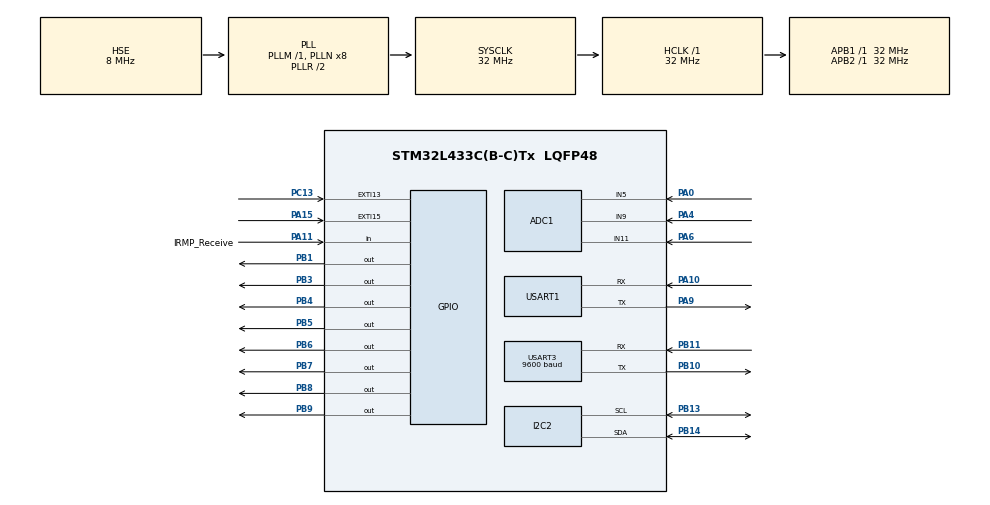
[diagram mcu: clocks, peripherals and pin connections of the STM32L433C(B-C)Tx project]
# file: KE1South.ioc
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ADC1.Channel-0\#ChannelRegularConversion=ADC_CHANNEL_9
ADC1.Channel-1\#ChannelRegularConversion=ADC_CHANNEL_11
ADC1.Channel-2\#ChannelRegularConversion=ADC_CHANNEL_5
ADC1.ContinuousConvMode=ENABLE
ADC1.DMAContinuousRequests=ENABLE
ADC1.NbrOfConversion=3
ADC1.NbrOfConversionFlag=1
ADC1.OffsetNumber-0\#ChannelRegularConversion=ADC_OFFSET_NONE
ADC1.OffsetNumber-1\#ChannelRegularConversion=ADC_OFFSET_NONE
ADC1.OffsetNumber-2\#ChannelRegularConversion=ADC_OFFSET_NONE
ADC1.Rank-0\#ChannelRegularConversion=1
ADC1.Rank-1\#ChannelRegularConversion=2
ADC1.Rank-2\#ChannelRegularConversion=3
ADC1.SamplingTime-0\#ChannelRegularConversion=ADC_SAMPLETIME_2CYCLES_5
ADC1.SamplingTime-1\#ChannelRegularConversion=ADC_SAMPLETIME_2CYCLES_5
ADC1.SamplingTime-2\#ChannelRegularConversion=ADC_SAMPLETIME_2CYCLES_5
ADC1.master=1
Dma.ADC1.0.Direction=DMA_PERIPH_TO_MEMORY
Dma.ADC1.0.Instance=DMA1_Channel1
Dma.ADC1.0.MemDataAlignment=DMA_MDATAALIGN_HALFWORD
Dma.ADC1.0.MemInc=DMA_MINC_ENABLE
Dma.ADC1.0.Mode=DMA_NORMAL
Dma.ADC1.0.PeriphDataAlignment=DMA_PDATAALIGN_HALFWORD
Dma.ADC1.0.PeriphInc=DMA_PINC_DISABLE
Dma.ADC1.0.Priority=DMA_PRIORITY_LOW
Dma.Request0=ADC1
I2C2.Timing=0x00707CBB
Mcu.Family=STM32L4
Mcu.Name=STM32L433C(B-C)Tx
Mcu.Package=LQFP48
NVIC.DMA1_Channel1_IRQn=true\:0\:0\:false\:false\:true\:false\:true
NVIC.EXTI15_10_IRQn=true\:4\:0\:true\:false\:true\:true\:true
NVIC.PriorityGroup=NVIC_PRIORITYGROUP_4
NVIC.TIM2_IRQn=true\:0\:0\:false\:false\:true\:true\:true
NVIC.USART1_IRQn=true\:3\:0\:true\:false\:true\:true\:true
NVIC.USART3_IRQn=true\:1\:0\:true\:false\:true\:true\:true
PA0.Signal=ADCx_IN5
PA1.Signal=S_TIM2_CH2
PA10.Mode=Asynchronous
PA10.Signal=USART1_RX
PA11.GPIO_Label=IRMP_Receive
PA11.Signal=GPIO_Input
PA13\ (JTMS-SWDIO).Mode=Serial_Wire
PA13\ (JTMS-SWDIO).Signal=SYS_JTMS-SWDIO
PA14\ (JTCK-SWCLK).Mode=Serial_Wire
PA14\ (JTCK-SWCLK).Signal=SYS_JTCK-SWCLK
PA15\ (JTDI).GPIO_PuPd=GPIO_PULLUP
PA15\ (JTDI).Signal=GPXTI15
PA4.Signal=ADCx_IN9
PA6.Signal=ADCx_IN11
PA9.Mode=Asynchronous
PA9.Signal=USART1_TX
PB1.Signal=GPIO_Output
PB10.Mode=Asynchronous
PB10.Signal=USART3_TX
PB11.Mode=Asynchronous
PB11.Signal=USART3_RX
PB13.Mode=I2C
PB13.Signal=I2C2_SCL
PB14.Mode=I2C
PB14.Signal=I2C2_SDA
PB3\ (JTDO-TRACESWO).Signal=GPIO_Output
PB4\ (NJTRST).PinState=GPIO_PIN_RESET
PB4\ (NJTRST).Signal=GPIO_Output
PB5.PinState=GPIO_PIN_SET
PB5.Signal=GPIO_Output
PB6.PinState=GPIO_PIN_SET
PB6.Signal=GPIO_Output
PB7.PinState=GPIO_PIN_SET
PB7.Signal=GPIO_Output
PB8.Signal=GPIO_Output
PB9.Signal=GPIO_Output
PC13.GPIO_PuPd=GPIO_PULLUP
PC13.Signal=GPXTI13
PC14-OSC32_IN\ (PC14).Mode=LSE-External-Oscillator
PC14-OSC32_IN\ (PC14).Signal=RCC_OSC32_IN
PC15-OSC32_OUT\ (PC15).Mode=LSE-External-Oscillator
PC15-OSC32_OUT\ (PC15).Signal=RCC_OSC32_OUT
PH0-OSC_IN\ (PH0).Mode=HSE-External-Oscillator
PH0-OSC_IN\ (PH0).Signal=RCC_OSC_IN
PH1-OSC_OUT\ (PH1).Mode=HSE-External-Oscillator
PH1-OSC_OUT\ (PH1).Signal=RCC_OSC_OUT
ProjectManager.HeapSize=0x200
ProjectManager.StackSize=0x400
ProjectManager.TargetToolchain=STM32CubeIDE
RCC.ADCFreq_Value=64000000
RCC.AHBFreq_Value=32000000
RCC.APB1Freq_Value=32000000
RCC.APB1TimFreq_Value=32000000
RCC.APB2Freq_Value=32000000
RCC.APB2TimFreq_Value=32000000
RCC.CortexFreq_Value=32000000
RCC.HCLKFreq_Value=32000000
RCC.HSE_VALUE=8000000
RCC.HSI48_VALUE=48000000
RCC.HSI_VALUE=16000000
RCC.MSI_VALUE=4000000
RCC.PLLSAI1N=16
RCC.PLLSourceVirtual=RCC_PLLSOURCE_HSE
RCC.SYSCLKFreq_VALUE=32000000
RCC.SYSCLKSource=RCC_SYSCLKSOURCE_PLLCLK
RCC.USBFreq_Value=64000000
RCC.VCOOutputFreq_Value=64000000
SH.ADCx_IN11.0=ADC1_IN11,IN11-Single-Ended
SH.ADCx_IN5.0=ADC1_IN5,IN5-Single-Ended
SH.ADCx_IN9.0=ADC1_IN9,IN9-Single-Ended
SH.S_TIM2_CH2.0=TIM2_CH2
TIM2.Period=99
TIM2.Prescaler=32-1
USART1.VirtualMode-Asynchronous=VM_ASYNC
USART3.BaudRate=9600
USART3.VirtualMode-Asynchronous=VM_ASYNC
VP_TIM2_VS_ClockSourceINT.Mode=Internal
board=custom

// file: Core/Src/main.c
/* USER CODE BEGIN Header */
/**
 ******************************************************************************
 * @file           : main.c
 * @brief          : Main program body
 ******************************************************************************
 * @attention
 *
 * <h2><center>&copy; Copyright (c) 2019 STMicroelectronics.
 * All rights reserved.</center></h2>
 *
 * This software component is licensed by ST under BSD 3-Clause license,
 * the "License"; You may not use this file except in compliance with the
 * License. You may obtain a copy of the License at:
 *                        opensource.org/licenses/BSD-3-Clause
 *
 ******************************************************************************
 */
/* USER CODE END Header */

#include "main.h"
#include "adc.h"
#include "dma.h"
#include "i2c.h"
#include "tim.h"
#include "usart.h"
#include "gpio.h"

/* USER CODE BEGIN Includes */
#include <stdio.h>
#include <string.h>
#include <stdlib.h>
#include "oled.h"
#include "nbiot.h"
/* USER CODE END Includes */

void SystemClock_Config(void);

/* USER CODE BEGIN 0 */
int KE1_Parse_NNMI(char *pcNNMI, char *pcOut)
{
	char ch = 0, lenFlag = 0, dataFlag = 0;
	char acLen[5] = {0};
	int i = 0, pos = 0, dLen = 0;
	//+NNMI:6,010009020000
	for(i=0; i<strlen(pcNNMI); i++){
		ch = pcNNMI[i];
		if(0x0D == ch && 1 == dataFlag) break;

		if(':' == ch){
			lenFlag = 1; pos = 0;
			continue;
		}
		if(',' == ch){
			lenFlag = 0;
			dataFlag = 1; pos = 0;
			dLen = atoi(acLen);
			continue;
		}
		if(1 == lenFlag){
			acLen[pos++] = ch;
		}
		if(1 == dataFlag){
			pcOut[pos++] = ch;
		}
	}
	return dLen;
}

void ascii2hex(char *pcAscii, char *pcHex)
{
	int iDlen = 0, i = 0, pos = 0;
	iDlen = strlen(pcAscii);
	if(128 < iDlen) return;
	for(i=0; i<iDlen; i++){
		sprintf(&pcHex[pos], "%02X", pcAscii[i]);
		pos += 2;
	}
}
extern unsigned char key1, key2;
char acDevInfo[128] = {0}, acHexBuf[256] = {0}, acAtBuf[512] = {0}, acUserCmd[64] = {0};
/* USER CODE END 0 */

int main(void)
{
  /* USER CODE BEGIN 1 */
	const char *pcVersion = "V0.0.7";
	float fTemp = 34.2, fHumi = 0.0;
	unsigned short usLight = 0, usSound = 0, usVoltage = 0;

	int iUserCase = 0, iRet = -1, tryCnt = 0, iSigVal = 0;

	char netFlag = 0, cmdLen = 0, acSigVal[3] = {0};

	unsigned int atLen = 0, dLen = 0, timeout = 1000, upDevFreq = 0, upNetFreq = 0;
	int nbSP = 0, nbCCID = 0, nbSNR = 0;
	unsigned char nbECL = 0;

  /* USER CODE END 1 */

  /* MCU Configuration--------------------------------------------------------*/

  /* Reset of all peripherals, Initializes the Flash interface and the Systick. */
  HAL_Init();

  /* Configure the system clock */
  SystemClock_Config();

  /* Initialize all configured peripherals */
  MX_GPIO_Init();
  MX_DMA_Init();
  MX_ADC1_Init();
  MX_USART1_UART_Init();
  MX_USART3_UART_Init();
  MX_I2C2_Init();
  MX_TIM2_Init();
  /* USER CODE BEGIN 2 */
	Beep_Switch(1);
	HAL_Delay(500);
	Beep_Switch(0);

	UART_Enable_Receive_IT();// 使能串口接收中断，开始接收数�??

	OLED_Init(); // 初始化OLDE

	OLED_DrawLogo(); // 显示bmp单色logo图片
	HAL_Delay(2000);

	OLED_ShowKE1(); // 显示 小熊座KE1
	OLED_ShowString(0, 3, (uint8_t *)pcVersion, 6);
	HAL_Delay(2000);
	printf("Hello! i am KE1 south demo %s\r\n",pcVersion);

	KE1_I2C_SHT31(&fTemp, &fHumi);
	printf("T:%0.2f,H:%0.2f\r\n", fTemp, fHumi);

	KE1_Send_AT("AT\r\n"); atLen = sizeof(acAtBuf);
	iRet = KE1_Recv_AT(acAtBuf, &atLen, 1000);

	if(0 == fHumi || 0 == iRet){
		printf("I2C or AT NVIC_SystemReset\n");
		NVIC_SystemReset();//无法读取I2C或�?�AT没有响应则MCU 重启
	}

	OLED_Clear();

	tryCnt = 120;

	HAL_GPIO_WritePin(GPIOB, GPIO_PIN_5, 1);
	HAL_GPIO_WritePin(GPIOB, GPIO_PIN_6, 1);
	HAL_GPIO_WritePin(GPIOB, GPIO_PIN_7, 0);	//初始状态为绿灯表示座位可接受预约
  /* USER CODE END 2 */

  /* Infinite loop */
  /* USER CODE BEGIN WHILE */
	int RayBlock=0;
	int TempAppr=0;
	int count=0;
	int appoint=0;

	while (1)
	{
    /* USER CODE END WHILE */
		if(appoint==1) count++;

    /* USER CODE BEGIN 3 */
		if(0 == netFlag){
			OLED_Show_Note(NULL, 1, tryCnt);
			if(0 != tryCnt) {
				tryCnt--;
			}else{
				OLED_Show_Note("reg err", 0, 0);
				if(NB_OK == nbiot_reboot(10)){
					iUserCase = NB_STEP_BUFF_CLEAR;tryCnt = 120;
				}else{
					NVIC_SystemReset();
				}
			}
		}else{
			if(0 < iSigVal && 32 > iSigVal){
				OLED_Show_Note(NULL, 2, iSigVal);
			}else if(99 == iSigVal){
				OLED_Show_Note("no net", 0, 0);
			}
		}

		KE1_I2C_SHT31(&fTemp, &fHumi); // 采集温湿�?
		KE1_ADC_Senser_Get(&usLight, &usSound, &usVoltage);//采集光强和噪�?
		if(0 < fHumi){
			OLED_ShowT_H(fTemp, fHumi);
			if(appoint==1){		//有人预约
				//RayBlock=oled_show_data();
				if(fTemp>24) TempAppr=1;
				else TempAppr=0;
				if(TempAppr) {		//有人入座
					HAL_GPIO_WritePin(GPIOB, GPIO_PIN_5, 1);
					HAL_GPIO_WritePin(GPIOB, GPIO_PIN_6, 1);
					HAL_GPIO_WritePin(GPIOB, GPIO_PIN_7, 1);
					count=0;
				}else if(count<=15){	//离开15分钟以内
					HAL_GPIO_WritePin(GPIOB, GPIO_PIN_5, 1);
					HAL_GPIO_WritePin(GPIOB, GPIO_PIN_6, 0);
					HAL_GPIO_WritePin(GPIOB, GPIO_PIN_7, 1);
				}else if(count<=30){	//离开30分钟以内
					HAL_GPIO_WritePin(GPIOB, GPIO_PIN_5, 1);
					HAL_GPIO_WritePin(GPIOB, GPIO_PIN_6, 0);
					HAL_GPIO_WritePin(GPIOB, GPIO_PIN_7, 0);
				}else{					//释放座位
					HAL_GPIO_WritePin(GPIOB, GPIO_PIN_5, 1);
					HAL_GPIO_WritePin(GPIOB, GPIO_PIN_6, 1);
					HAL_GPIO_WritePin(GPIOB, GPIO_PIN_7, 0);
					appoint=0;
				}
			}
		}
		if(1 == key1){
			key1 = 0;
			printf("key1 touch!\r\n");
		}
		if(1 == key2){
			key2 = 0;
			printf("key2 touch!\r\n");
		}
		timeout = 500;
		printf("case %d - %d - %d - %d\r\n", iUserCase,timeout, upDevFreq, upNetFreq);
		switch(iUserCase){
			case NB_STEP_BUFF_CLEAR:
				KE1_Clear_AT_Buf();
				iUserCase = NB_STEP_CHECK_AT;
				continue;
			case NB_STEP_CHECK_AT:
				KE1_Send_AT("ATE1\r\n");// �?启模块AT命令回显功能
				break;
			case NB_STEP_CHECK_REG:
				if(NB_OK == nbiot_check_reg(3)){// �?查模块网络注册情�?
					iUserCase = NB_STEP_UP_REG_INFO;
					netFlag = 1;
				}else{
					iUserCase = NB_STEP_STOP_MODULE;
				}
				break;
			case NB_STEP_STOP_MODULE:
				KE1_Send_AT("AT+CFUN=0\r\n"); // 关闭模组
				timeout = 10000;
				break;
			case NB_STEP_SET_COAP:
				KE1_Send_AT("AT+NCDP=180.101.147.115,5683\r\n"); // 设置电信物联网南向接口地�?
				break;
			case NB_STEP_START_MODULE:
				KE1_Send_AT("AT+CFUN=1\r\n"); // 启动模块
				timeout = 10000;
				break;
			case NB_STEP_SET_PDP:
				KE1_Send_AT("AT+CGDCONT=1,\"IP\",\"CTNB\"\r\n"); // 设置PDP
				break;
			case NB_STEP_SIM_CHECK: //�?查SIM是否存在
				KE1_Send_AT("AT+CIMI\r\n");
				break;
			case NB_STEP_START_REG:
				KE1_Send_AT("AT+CGATT=1\r\n"); // 启动网络附着
				break;
			case NB_STEP_SET_AUTO_REG:
				KE1_Send_AT("AT+QREGSWT=1\r\n"); // 网络自动注册
				break;
			case NB_STEP_WAITING_REG_OK:
				HAL_Delay(1000);
				KE1_Send_AT("AT+CGATT?\r\n"); // 检查网络注册状况
				break;
			case NB_STEP_UP_REG_INFO:
				if(1 == netFlag && 0 == upNetFreq){
					nbiot_get_signl_val(acSigVal);iSigVal = atoi(acSigVal); printf("Signal:%d\r\n", iSigVal);

					tryCnt = 0;
					OLED_Show_UP_Flag(1);
					/*
					 * 	上报的无线参数�?�必须在数据范围内才算有效数据，数据范围要求�??
						1. 信号强度，上报范围应�??-140�??-40之间
						2. 覆盖等级，上报范围应�??0�??2之间
						3. 信噪比，上报范围应在-20�??30之间
						4. 小区ID，上报范围应�??0�??2147483647之间
					 * AT样例: AT+NMGS=11,03FFFFFFA608F651550E01
						平台JSON�??: {"SignalPower":-90,"CellID":150360405,"SNR":14,"ECL":1}
					 * */
					memset(acAtBuf, 0, sizeof(acAtBuf));
					nbiot_get_nuestats(&nbSP, &nbSNR, &nbCCID, &nbECL);

					printf("Signal:%d, %d, %d, %d\r\n", nbSP, nbCCID, nbSNR, nbECL);

					snprintf(acAtBuf, sizeof(acAtBuf), "AT+NMGS=14,03%08X%08X%08X%02X\r\n", nbSP, nbCCID, nbSNR, nbECL);// 打包模组信号强度参数
					KE1_Send_AT(acAtBuf);// 发�?�信�??
					upNetFreq = (60*60)*2;
				}

				break;
			case NB_STEP_UP_DEV_INFO:
				tryCnt++;
				if(10 == tryCnt || (1 == netFlag && 0 == upDevFreq)){
					tryCnt = 0;
					nbiot_get_signl_val(acSigVal);iSigVal = atoi(acSigVal); printf("Signal:%d\r\n", iSigVal);
				}

				if(1 == netFlag && 0 == upDevFreq){
					memset(acDevInfo, 0, sizeof(acDevInfo));
					memset(acAtBuf, 0, sizeof(acAtBuf));

					dLen = snprintf(acDevInfo, sizeof(acDevInfo), "{\"T\":\"%0.2f\",\"H\":\"%0.2f\",\"L\":\"%d\",\"S\":\"%d\",\"V\":\"%d\",\"NB\":\"%d\"}", fTemp, fHumi, usLight,usSound,usVoltage,iSigVal);// 打包设备传感器数�??
					//printf("%s\r\n", acDevInfo);

					if(0 < fHumi){
						OLED_Show_UP_Flag(1);
						ascii2hex(acDevInfo, acHexBuf);
						snprintf(acAtBuf, sizeof(acAtBuf), "AT+NMGS=%d,00%04X%s\r\n", (dLen+3), dLen, acHexBuf);// 打包COAP数据包AT命令
						//printf("%s\r\n", acAtBuf);
						KE1_Send_AT(acAtBuf);
					}
					upDevFreq = (60*60);
				}
				break;
		}

		atLen = sizeof(acAtBuf);
		iRet = KE1_Recv_AT(acAtBuf, &atLen, timeout);
		//printf("RAT:%d-%d\r\n",iRet, timeout);

		if(0 == iRet){//AT命令响应超时
			HAL_GPIO_TogglePin(GPIOB, GPIO_PIN_4);
		}else if(1 == iRet){//AT命令接收到OK响应
			if(NB_STEP_WAITING_REG_OK > iUserCase){
				iUserCase++;
				//HAL_Delay(1000);
			}
		}else if(2 == iRet){//AT命令接收到ERROR响应
			printf("AT error !\r\n");
			if(NB_STEP_START_MODULE == iUserCase || NB_STEP_SIM_CHECK == iUserCase){
				OLED_Show_Note("NO SIM", 0, 0);
			}
			if(NB_STEP_UP_REG_INFO == iUserCase){
				OLED_Show_Note("NO Reg", 0, 0);
			}
			do{ // 报警
				HAL_Delay(200);
				HAL_GPIO_TogglePin(GPIOB, GPIO_PIN_6);
			}while(1);

		}else if(3 == iRet){//接收到网络已注册提示
			printf("Net ready !\r\n");
			netFlag = 1;
			OLED_Show_Note("Net OK", 0, 0);
			HAL_Delay(3000);
			iUserCase = NB_STEP_UP_REG_INFO;
		}else if(4 == iRet){//AT命令接收到电信物联网平台下发数据
			printf("%s", acAtBuf);
			memset(acUserCmd, 0, sizeof(acUserCmd));
			cmdLen = KE1_Parse_NNMI(acAtBuf, acUserCmd);

			if(strstr(acUserCmd, "AAAA0000")){
				printf("device info upload successfully\r\n");
				OLED_Show_UP_Flag(0);
			}else if(strstr(acUserCmd, "CCCC0000")){
				printf("Module connectivity upload successfully\r\n");
				iUserCase = NB_STEP_UP_DEV_INFO;
				OLED_Show_UP_Flag(0);
			}else{
				printf("user data[%d]:%s\r\n", cmdLen, acUserCmd);
				/*
				 * 解析用户命令执行对应操作
				 * TO-DO
				 */

				HAL_GPIO_WritePin(GPIOB, GPIO_PIN_5, 1);
				HAL_GPIO_WritePin(GPIOB, GPIO_PIN_6, 0);
				HAL_GPIO_WritePin(GPIOB, GPIO_PIN_7, 1);
				count=0;
				appoint=1;
				HAL_Delay(1000);
				if(0x33 == acUserCmd[7]){
					HAL_GPIO_TogglePin(GPIOB, GPIO_PIN_1);
				}else if(0x34 == acUserCmd[7]){
					HAL_GPIO_TogglePin(GPIOB, GPIO_PIN_3);
				}
				/* 向平台发送命令响�???
				 * AT+NMGS=5,02000A000A
				 */
				acUserCmd[1] = '2';
				acUserCmd[6] = '0';acUserCmd[7] = '0';acUserCmd[8] = '0';acUserCmd[9] = '0';acUserCmd[10] = 0;
				printf("CmdResp:%s\r\n", acUserCmd);
				snprintf(acAtBuf, sizeof(acAtBuf), "AT+NMGS=%d,%s\r\n", 5, acUserCmd);// 打包COAP数据包AT命令
				KE1_Send_AT(acAtBuf);
			}

		}else{
			if(-2 == iRet){// UART error
				NVIC_SystemReset();
			}
		}
		if(0 != upNetFreq) {
			upNetFreq--;
			if(0 == upNetFreq){iUserCase = NB_STEP_UP_REG_INFO;}
		}
		if(0 != upDevFreq) upDevFreq--;
	}
  /* USER CODE END 3 */
}

void SystemClock_Config(void)
{
  RCC_OscInitTypeDef RCC_OscInitStruct = {0};
  RCC_ClkInitTypeDef RCC_ClkInitStruct = {0};
  RCC_PeriphCLKInitTypeDef PeriphClkInit = {0};

  /** Initializes the CPU, AHB and APB busses clocks
  */
  RCC_OscInitStruct.OscillatorType = RCC_OSCILLATORTYPE_HSE;
  RCC_OscInitStruct.HSEState = RCC_HSE_ON;
  RCC_OscInitStruct.PLL.PLLState = RCC_PLL_ON;
  RCC_OscInitStruct.PLL.PLLSource = RCC_PLLSOURCE_HSE;
  RCC_OscInitStruct.PLL.PLLM = 1;
  RCC_OscInitStruct.PLL.PLLN = 8;
  RCC_OscInitStruct.PLL.PLLP = RCC_PLLP_DIV7;
  RCC_OscInitStruct.PLL.PLLQ = RCC_PLLQ_DIV2;
  RCC_OscInitStruct.PLL.PLLR = RCC_PLLR_DIV2;
  if (HAL_RCC_OscConfig(&RCC_OscInitStruct) != HAL_OK)
  {
    Error_Handler();
  }
  /** Initializes the CPU, AHB and APB busses clocks
  */
  RCC_ClkInitStruct.ClockType = RCC_CLOCKTYPE_HCLK|RCC_CLOCKTYPE_SYSCLK
                              |RCC_CLOCKTYPE_PCLK1|RCC_CLOCKTYPE_PCLK2;
  RCC_ClkInitStruct.SYSCLKSource = RCC_SYSCLKSOURCE_PLLCLK;
  RCC_ClkInitStruct.AHBCLKDivider = RCC_SYSCLK_DIV1;
  RCC_ClkInitStruct.APB1CLKDivider = RCC_HCLK_DIV1;
  RCC_ClkInitStruct.APB2CLKDivider = RCC_HCLK_DIV1;

  if (HAL_RCC_ClockConfig(&RCC_ClkInitStruct, FLASH_LATENCY_1) != HAL_OK)
  {
    Error_Handler();
  }
  PeriphClkInit.PeriphClockSelection = RCC_PERIPHCLK_USART1|RCC_PERIPHCLK_USART3
                              |RCC_PERIPHCLK_I2C2|RCC_PERIPHCLK_ADC;
  PeriphClkInit.Usart1ClockSelection = RCC_USART1CLKSOURCE_PCLK2;
  PeriphClkInit.Usart3ClockSelection = RCC_USART3CLKSOURCE_PCLK1;
  PeriphClkInit.I2c2ClockSelection = RCC_I2C2CLKSOURCE_PCLK1;
  PeriphClkInit.AdcClockSelection = RCC_ADCCLKSOURCE_PLLSAI1;
  PeriphClkInit.PLLSAI1.PLLSAI1Source = RCC_PLLSOURCE_HSE;
  PeriphClkInit.PLLSAI1.PLLSAI1M = 1;
  PeriphClkInit.PLLSAI1.PLLSAI1N = 16;
  PeriphClkInit.PLLSAI1.PLLSAI1P = RCC_PLLP_DIV7;
  PeriphClkInit.PLLSAI1.PLLSAI1Q = RCC_PLLQ_DIV2;
  PeriphClkInit.PLLSAI1.PLLSAI1R = RCC_PLLR_DIV2;
  PeriphClkInit.PLLSAI1.PLLSAI1ClockOut = RCC_PLLSAI1_ADC1CLK;
  if (HAL_RCCEx_PeriphCLKConfig(&PeriphClkInit) != HAL_OK)
  {
    Error_Handler();
  }
  /** Configure the main internal regulator output voltage
  */
  if (HAL_PWREx_ControlVoltageScaling(PWR_REGULATOR_VOLTAGE_SCALE1) != HAL_OK)
  {
    Error_Handler();
  }
}

void Error_Handler(void)
{
}

/************************ (C) COPYRIGHT STMicroelectronics *****END OF FILE****/
